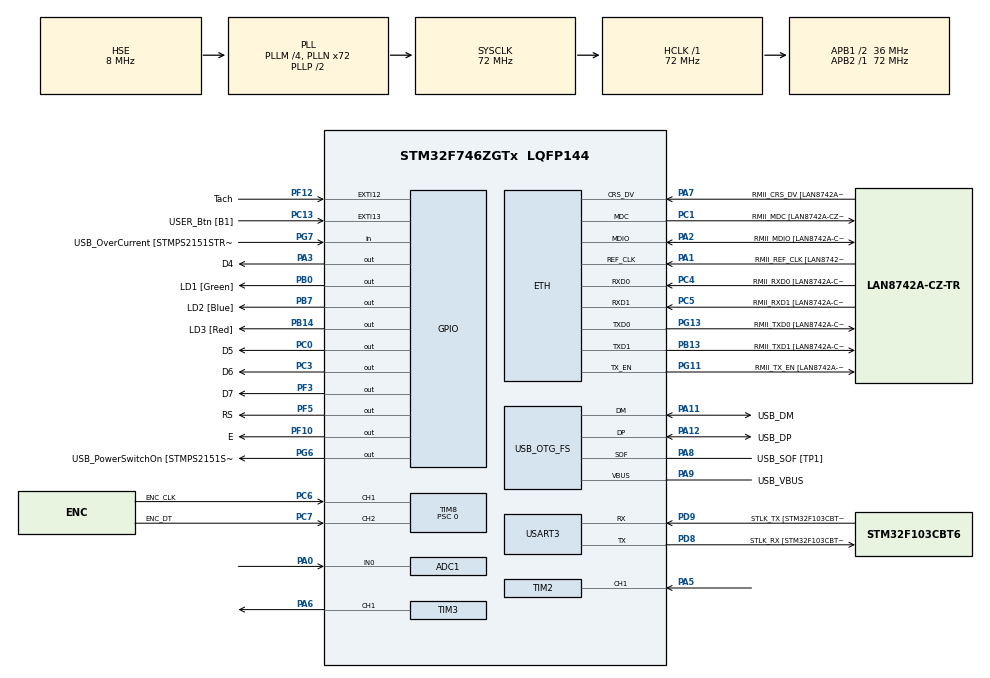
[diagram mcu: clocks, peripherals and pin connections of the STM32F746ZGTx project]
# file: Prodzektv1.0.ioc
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ADC1.Channel-0\#ChannelRegularConversion=ADC_CHANNEL_0
ADC1.NbrOfConversionFlag=1
ADC1.Rank-0\#ChannelRegularConversion=1
ADC1.SamplingTime-0\#ChannelRegularConversion=ADC_SAMPLETIME_15CYCLES
ADC1.master=1
ETH.MediaInterface=HAL_ETH_RMII_MODE
ETH.PHY_Name=LAN8742A_PHY_ADDRESS
ETH.PHY_Value=0
ETH.PhyAddress=0
Mcu.Family=STM32F7
Mcu.Name=STM32F746ZGTx
Mcu.Package=LQFP144
NVIC.EXTI15_10_IRQn=true\:0\:0\:false\:false\:true\:true\:true\:true
NVIC.PriorityGroup=NVIC_PRIORITYGROUP_4
NVIC.TIM2_IRQn=true\:0\:0\:false\:false\:true\:true\:true\:true
NVIC.TIM3_IRQn=true\:0\:0\:false\:false\:true\:true\:true\:true
NVIC.TIM4_IRQn=true\:0\:0\:false\:false\:true\:true\:true\:true
NVIC.TIM7_IRQn=true\:0\:0\:false\:false\:true\:true\:true\:true
NVIC.TIM8_BRK_TIM12_IRQn=true\:0\:0\:false\:false\:true\:true\:true\:true
NVIC.TIM8_UP_TIM13_IRQn=true\:0\:0\:false\:false\:true\:true\:true\:true
NVIC.USART3_IRQn=true\:0\:0\:false\:false\:true\:true\:true\:true
PA0/WKUP.Signal=ADCx_IN0
PA1.GPIO_Label=RMII_REF_CLK [LAN8742A-CZ-TR_REFCLK0]
PA1.Mode=RMII
PA1.Signal=ETH_REF_CLK
PA10.GPIO_Label=USB_ID
PA10.Signal=USB_OTG_FS_ID
PA11.GPIO_Label=USB_DM
PA11.Mode=Device_Only
PA11.Signal=USB_OTG_FS_DM
PA12.GPIO_Label=USB_DP
PA12.Mode=Device_Only
PA12.Signal=USB_OTG_FS_DP
PA13.GPIO_Label=TMS
PA13.Mode=Serial_Wire
PA13.Signal=SYS_JTMS-SWDIO
PA14.GPIO_Label=TCK
PA14.Mode=Serial_Wire
PA14.Signal=SYS_JTCK-SWCLK
PA2.GPIO_Label=RMII_MDIO [LAN8742A-CZ-TR_MDIO]
PA2.Mode=RMII
PA2.Signal=ETH_MDIO
PA3.GPIO_Label=D4
PA3.Signal=GPIO_Output
PA5.GPIO_PuPd=GPIO_PULLUP
PA5.Signal=S_TIM2_CH1_ETR
PA6.Signal=S_TIM3_CH1
PA7.GPIO_Label=RMII_CRS_DV [LAN8742A-CZ-TR_CRS_DV]
PA7.Mode=RMII
PA7.Signal=ETH_CRS_DV
PA8.GPIO_Label=USB_SOF [TP1]
PA8.Mode=Activate_SOF_FS
PA8.Signal=USB_OTG_FS_SOF
PA9.GPIO_Label=USB_VBUS
PA9.Mode=Activate_VBUS
PA9.Signal=USB_OTG_FS_VBUS
PB0.GPIO_Label=LD1 [Green]
PB0.Signal=GPIO_Output
PB13.GPIO_Label=RMII_TXD1 [LAN8742A-CZ-TR_TXD1]
PB13.Mode=RMII
PB13.Signal=ETH_TXD1
PB14.GPIO_Label=LD3 [Red]
PB14.Signal=GPIO_Output
PB3.GPIO_Label=SW0
PB3.Signal=SYS_JTDO-SWO
PB7.GPIO_Label=LD2 [Blue]
PB7.Signal=GPIO_Output
PC0.GPIO_Label=D5
PC0.Signal=GPIO_Output
PC1.GPIO_Label=RMII_MDC [LAN8742A-CZ-TR_MDC]
PC1.Mode=RMII
PC1.Signal=ETH_MDC
PC13.GPIO_Label=USER_Btn [B1]
PC13.Signal=GPXTI13
PC14/OSC32_IN.Mode=LSE-External-Oscillator
PC14/OSC32_IN.Signal=RCC_OSC32_IN
PC15/OSC32_OUT.Mode=LSE-External-Oscillator
PC15/OSC32_OUT.Signal=RCC_OSC32_OUT
PC3.GPIO_Label=D6
PC3.Signal=GPIO_Output
PC4.GPIO_Label=RMII_RXD0 [LAN8742A-CZ-TR_RXD0]
PC4.Mode=RMII
PC4.Signal=ETH_RXD0
PC5.GPIO_Label=RMII_RXD1 [LAN8742A-CZ-TR_RXD1]
PC5.Mode=RMII
PC5.Signal=ETH_RXD1
PC6.GPIO_Label=ENC_CLK
PC6.Signal=S_TIM8_CH1
PC7.GPIO_Label=ENC_DT
PC7.Signal=S_TIM8_CH2
PD8.GPIO_Label=STLK_RX [STM32F103CBT6_PA3]
PD8.GPIO_PuPd=GPIO_PULLUP
PD8.Mode=Asynchronous
PD8.Signal=USART3_TX
PD9.GPIO_Label=STLK_TX [STM32F103CBT6_PA2]
PD9.GPIO_PuPd=GPIO_PULLUP
PD9.Mode=Asynchronous
PD9.Signal=USART3_RX
PF10.GPIO_Label=E
PF10.Signal=GPIO_Output
PF12.GPIO_Label=Tach
PF12.GPIO_PuPd=GPIO_PULLUP
PF12.Signal=GPXTI12
PF3.GPIO_Label=D7
PF3.Signal=GPIO_Output
PF5.GPIO_Label=RS
PF5.Signal=GPIO_Output
PG11.GPIO_Label=RMII_TX_EN [LAN8742A-CZ-TR_TXEN]
PG11.Mode=RMII
PG11.Signal=ETH_TX_EN
PG13.GPIO_Label=RMII_TXD0 [LAN8742A-CZ-TR_TXD0]
PG13.Mode=RMII
PG13.Signal=ETH_TXD0
PG6.GPIO_Label=USB_PowerSwitchOn [STMPS2151STR_EN]
PG6.Signal=GPIO_Output
PG7.GPIO_Label=USB_OverCurrent [STMPS2151STR_FAULT]
PG7.Signal=GPIO_Input
PH0/OSC_IN.GPIO_Label=MCO [STM32F103CBT6_PA8]
PH0/OSC_IN.Mode=HSE-External-Clock-Source
PH0/OSC_IN.Signal=RCC_OSC_IN
PH1/OSC_OUT.Mode=HSE-External-Clock-Source
PH1/OSC_OUT.Signal=RCC_OSC_OUT
ProjectManager.HeapSize=0x200
ProjectManager.StackSize=0x400
ProjectManager.TargetToolchain=STM32CubeIDE
RCC.48MHZClocksFreq_Value=24000000
RCC.AHBFreq_Value=72000000
RCC.APB1CLKDivider=RCC_HCLK_DIV2
RCC.APB1Freq_Value=36000000
RCC.APB1TimFreq_Value=72000000
RCC.APB2Freq_Value=72000000
RCC.APB2TimFreq_Value=72000000
RCC.CortexFreq_Value=72000000
RCC.HCLKFreq_Value=72000000
RCC.HSE_VALUE=8000000
RCC.HSI_VALUE=16000000
RCC.PLLM=4
RCC.PLLMUL=RCC_PLL_MUL9
RCC.PLLN=72
RCC.PLLQ=3
RCC.PRESCALERUSB=RCC_USBCLKSOURCE_PLL_DIV1_5
RCC.SYSCLKFreq_VALUE=72000000
RCC.SYSCLKSource=RCC_SYSCLKSOURCE_PLLCLK
RCC.SYSCLKSourceVirtual=RCC_SYSCLKSOURCE_PLLCLK
RCC.USBFreq_Value=48000000
RCC.VCOOutputFreq_Value=144000000
SH.ADCx_IN0.0=ADC1_IN0,IN0
SH.S_TIM2_CH1_ETR.0=TIM2_CH1,Input_Capture1_from_TI1
SH.S_TIM3_CH1.0=TIM3_CH1,PWM Generation1 CH1
SH.S_TIM8_CH1.0=TIM8_CH1,Encoder_Interface
SH.S_TIM8_CH2.0=TIM8_CH2,Encoder_Interface
TIM2.AutoReloadPreload=TIM_AUTORELOAD_PRELOAD_ENABLE
TIM2.Channel-Input_Capture1_from_TI1=TIM_CHANNEL_1
TIM2.Period=4294967295
TIM2.Prescaler=0
TIM3.Channel-PWM\ Generation1\ CH1=TIM_CHANNEL_1
TIM3.OC1Preload_PWM=DISABLE
TIM3.Period=99
TIM3.Prescaler=27
TIM3.Pulse-PWM\ Generation1\ CH1=39
TIM4.Period=1999
TIM4.Prescaler=7199
TIM6.Prescaler=71
TIM7.Period=9999
TIM7.Prescaler=7199
TIM8.EncoderMode=TIM_ENCODERMODE_TI12
TIM8.Period=300
TIM8.Prescaler=0
USART3.VirtualMode-Asynchronous=VM_ASYNC
USB_OTG_FS.VirtualMode=Device_Only
VP_TIM3_VS_ClockSourceINT.Mode=Internal
VP_TIM4_VS_ClockSourceINT.Mode=Internal
VP_TIM6_VS_ClockSourceINT.Mode=Enable_Timer
VP_TIM7_VS_ClockSourceINT.Mode=Enable_Timer
board=NUCLEO-F746ZG

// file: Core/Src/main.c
/* USER CODE BEGIN Header */
/**
  ******************************************************************************
  * @file           : main.c
  * @brief          : Main program body
  ******************************************************************************
  * @attention
  *
  * Copyright (c) 2024 STMicroelectronics.
  * All rights reserved.
  *
  * This software is licensed under terms that can be found in the LICENSE file
  * in the root directory of this software component.
  * If no LICENSE file comes with this software, it is provided AS-IS.
  *
  ******************************************************************************
  */
/* USER CODE END Header */
#include "main.h"
#include "adc.h"
#include "eth.h"
#include "tim.h"
#include "usart.h"
#include "usb_otg.h"
#include "gpio.h"

/* USER CODE BEGIN Includes */
#include "pid_controller_config.h"
#include "btn_config.h"
#include "lcd.h"
/* USER CODE END Includes */

/* USER CODE BEGIN PD */

// Definiowanie zmiennych //

int rpm = 0;
int rpm_ref_t = 0;
float temp = 0;
int Duty = 50;
int rpm_ref = 2000;
float e = 0;
_Bool mode = 0;
uint32_t IC_Val1 = 0;
uint32_t IC_Val2 = 0;
uint32_t Difference = 0;
uint8_t Is_First_Captured = 0;
uint32_t frequency = 0;
int prd = 0;
int niwim = 0;
uint8_t rx_buffer[32];
uint16_t msg_len;
int enc_raw = 0;
int enc_mod = 0;

/**
  * @brief  Input Capture callback
  * @param  htim TIM handle
  * @retval None
  */

void HAL_TIM_IC_CaptureCallback(TIM_HandleTypeDef *htim)
{

	/********************************************//**
	 *  Pomiar z tachometru
	 ***********************************************/

	if(htim == &htim2)
	{
				HAL_GPIO_WritePin(LD1_GPIO_Port, LD1_Pin, 1);
				if (htim->Channel == HAL_TIM_ACTIVE_CHANNEL_1)
				{
					if (Is_First_Captured==0) // if the first rising edge is not captured
					{
						IC_Val1 = HAL_TIM_ReadCapturedValue(htim, TIM_CHANNEL_1); // read the first value
						Is_First_Captured = 1;  // set the first captured as true
					}

					else   // If the first rising edge is captured, now capture the second edge
					{
						IC_Val2 = HAL_TIM_ReadCapturedValue(htim, TIM_CHANNEL_1);  // read second value

						if (IC_Val2 > IC_Val1)
						{
							Difference = IC_Val2-IC_Val1;
						}

						else if (IC_Val1 > IC_Val2)
						{
							Difference = (0xffffffff - IC_Val1) + IC_Val2;
						}
						frequency = HAL_RCC_GetPCLK1Freq()/Difference;  // read frequency from timer clock
						rpm = frequency*30;
						__HAL_TIM_SET_COUNTER(htim, 0);  // reset the counter
						Is_First_Captured = 0; // set it back to false
				}
			}
	}
}

/**
  * @brief  Period elapsed callback in non-blocking mode
  * @param  htim TIM handle
  * @retval None
  */
void HAL_TIM_PeriodElapsedCallback(TIM_HandleTypeDef *htim)
{
  if(htim == &htim4)
  {

	  /********************************************//**
	   *  Sterowanie pwm za pomocą regulatora PID
	   ***********************************************/

		  __HAL_TIM_SET_COMPARE(&htim3, TIM_CHANNEL_1, (uint32_t)(Duty));
	  	  Duty = PID_GetOutput(&hpid1, rpm_ref, rpm);
	  	  e = rpm_ref - rpm;

		  /********************************************//**
		   *  Zmiana trybu sterowania wartością ustalaną
		   ***********************************************/

	  	if(BTN_DIO_EdgeDetected(&husrbtn) == BTN_PRESSED_EDGE){
	  		if (mode == 1)
	  			mode = 0;
	  		else if(mode == 0)
	  			mode=1;
	  	}

		  /********************************************//**
		   *  Sterowanie wartością ustalaną za pomocą enkodera
		   ***********************************************/

	  	enc_raw = __HAL_TIM_GET_COUNTER(&htim8);
	  	if(enc_raw<100)
	  		enc_mod=1000+enc_raw;  // if enc value is below the minimum work range put it to the minimum working value and add unmodified amount
	  	else
	  		enc_mod=enc_raw * 10; // if enc value is within the work range multiply it for easier maneuverability
 if(mode==1)
	 rpm_ref = enc_mod;

  }

  /********************************************//**
   *  Wysyłanie informacji o działaniu układu przez port szeregowy
   ***********************************************/

 if(htim == &htim7)
 {
	 uint8_t tx_buffer[64];
	 int resp_len = sprintf((char*)tx_buffer, "{ \"RPM\":%d, \"RPM_REF\":%d, \"Duty\":%d }\r", rpm, rpm_ref, Duty); // Creating a message with RPM, RPM_REF, DUTY to send to termial
	 HAL_UART_Transmit(&huart3, tx_buffer, resp_len, 10);
	 }
 }

/**
  * @brief  Rx Transfer completed callback.
  * @param  huart UART handle.
  * @retval None
  */
void HAL_UART_RxCpltCallback(UART_HandleTypeDef *huart)
{

	  /********************************************//**
	   *  Kontrolowanie wartości ustalanej za pomocą terminalu
	   ***********************************************/
	if(mode == 0){
  if(huart == &huart3)
	  {
      sscanf((char*)&rx_buffer, "%d", &rpm_ref); // Get value from terminal
	  }
  HAL_UART_Receive_IT(&huart3, rx_buffer, msg_len);
}
}

/* USER CODE END PD */

void SystemClock_Config(void);

int main(void)
{

  /* MCU Configuration--------------------------------------------------------*/

  /* Reset of all peripherals, Initializes the Flash interface and the Systick. */
  HAL_Init();

  /* Configure the system clock */
  SystemClock_Config();

  /* Initialize all configured peripherals */
  MX_GPIO_Init();
  MX_ETH_Init();
  MX_USART3_UART_Init();
  MX_USB_OTG_FS_PCD_Init();
  MX_TIM2_Init();
  MX_TIM3_Init();
  MX_TIM4_Init();
  MX_TIM6_Init();
  MX_TIM7_Init();
  MX_ADC1_Init();
  MX_TIM8_Init();
  /* USER CODE BEGIN 2 */

  // Inicjacja timerów //
  HAL_TIM_Base_Start_IT(&htim2);
  HAL_TIM_IC_Start_IT(&htim2, TIM_CHANNEL_1);
  HAL_TIM_PWM_Start(&htim3,TIM_CHANNEL_1);
  HAL_TIM_Base_Start_IT(&htim4);
  HAL_TIM_Base_Start_IT(&htim7);
  msg_len = strlen("000\r");
  HAL_UART_Receive_IT(&huart3, rx_buffer, msg_len);
  HAL_TIM_Encoder_Start(&htim8, TIM_CHANNEL_ALL);

  // Inicjacja lcd //
  Lcd_PortType ports[] = {
 		  D4_GPIO_Port, D5_GPIO_Port, D6_GPIO_Port, D7_GPIO_Port
  };
  Lcd_PinType pins[] = {D4_Pin, D5_Pin, D6_Pin, D7_Pin};

  Lcd_HandleTypeDef lcd = Lcd_create(ports, pins, RS_GPIO_Port, RS_Pin, E_GPIO_Port, E_Pin, LCD_4_BIT_MODE);

  /* USER CODE END 2 */

  /* Infinite loop */
  /* USER CODE BEGIN WHILE */
  while (1)
  {
	  	  HAL_Delay(1000);
	  	  Lcd_clear(&lcd);
	  	  Lcd_cursor(&lcd, 0,1);
	  	  Lcd_string(&lcd, "RPM: ");
	  	  Lcd_cursor(&lcd, 0,7);
	  	  Lcd_int(&lcd, rpm);
	  	  Lcd_cursor(&lcd, 1,1);
	  	  Lcd_string(&lcd, "REF: ");
	  	  Lcd_cursor(&lcd, 1,7);
	  	  Lcd_int(&lcd, rpm_ref);

    /* USER CODE END WHILE */

  }
}

void SystemClock_Config(void)
{
  RCC_OscInitTypeDef RCC_OscInitStruct = {0};
  RCC_ClkInitTypeDef RCC_ClkInitStruct = {0};

  /** Configure LSE Drive Capability
  */
  HAL_PWR_EnableBkUpAccess();

  /** Configure the main internal regulator output voltage
  */
  __HAL_RCC_PWR_CLK_ENABLE();
  __HAL_PWR_VOLTAGESCALING_CONFIG(PWR_REGULATOR_VOLTAGE_SCALE3);

  /** Initializes the RCC Oscillators according to the specified parameters
  * in the RCC_OscInitTypeDef structure.
  */
  RCC_OscInitStruct.OscillatorType = RCC_OSCILLATORTYPE_HSE;
  RCC_OscInitStruct.HSEState = RCC_HSE_BYPASS;
  RCC_OscInitStruct.PLL.PLLState = RCC_PLL_ON;
  RCC_OscInitStruct.PLL.PLLSource = RCC_PLLSOURCE_HSE;
  RCC_OscInitStruct.PLL.PLLM = 4;
  RCC_OscInitStruct.PLL.PLLN = 72;
  RCC_OscInitStruct.PLL.PLLP = RCC_PLLP_DIV2;
  RCC_OscInitStruct.PLL.PLLQ = 3;
  if (HAL_RCC_OscConfig(&RCC_OscInitStruct) != HAL_OK)
  {
    Error_Handler();
  }

  /** Initializes the CPU, AHB and APB buses clocks
  */
  RCC_ClkInitStruct.ClockType = RCC_CLOCKTYPE_HCLK|RCC_CLOCKTYPE_SYSCLK
                              |RCC_CLOCKTYPE_PCLK1|RCC_CLOCKTYPE_PCLK2;
  RCC_ClkInitStruct.SYSCLKSource = RCC_SYSCLKSOURCE_PLLCLK;
  RCC_ClkInitStruct.AHBCLKDivider = RCC_SYSCLK_DIV1;
  RCC_ClkInitStruct.APB1CLKDivider = RCC_HCLK_DIV2;
  RCC_ClkInitStruct.APB2CLKDivider = RCC_HCLK_DIV1;

  if (HAL_RCC_ClockConfig(&RCC_ClkInitStruct, FLASH_LATENCY_2) != HAL_OK)
  {
    Error_Handler();
  }
}

void Error_Handler(void)
{
  __disable_irq();
  while (1)
  {
  }
}
